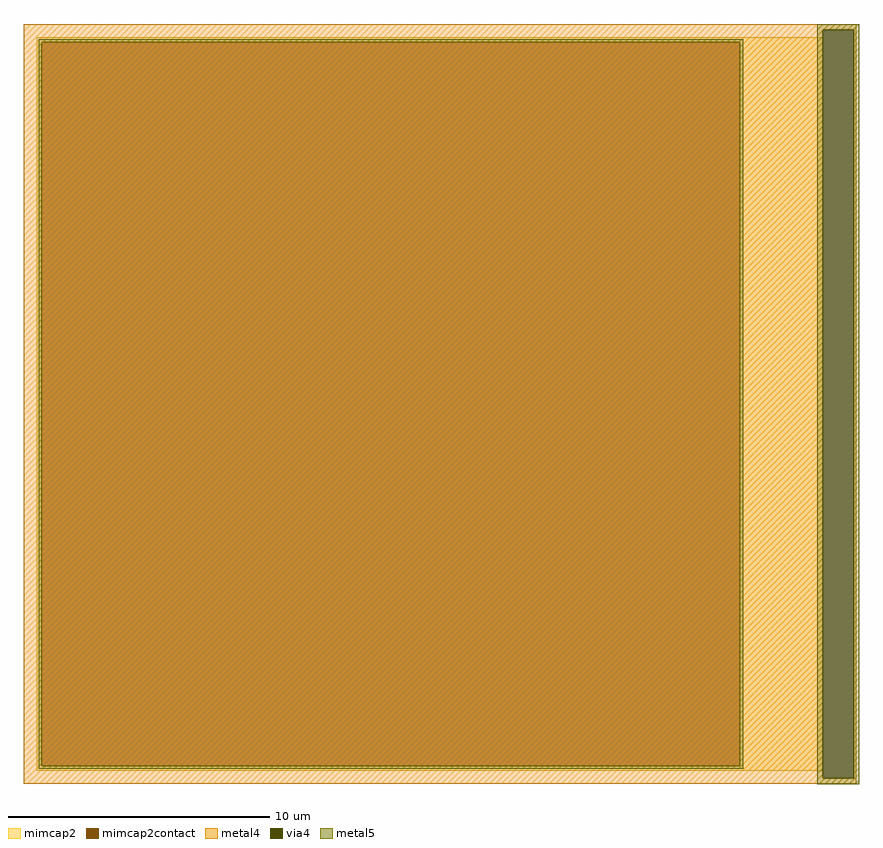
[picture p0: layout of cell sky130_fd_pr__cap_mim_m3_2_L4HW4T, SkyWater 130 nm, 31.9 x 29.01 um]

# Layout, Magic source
magic
tech sky130A
magscale 1 2
<< metal4 >>
rect -3179 2859 3179 2900
rect -3179 -2859 2923 2859
rect 3159 -2859 3179 2859
rect -3179 -2900 3179 -2859
<< via4 >>
rect 2923 -2859 3159 2859
<< mimcap2 >>
rect -3079 2760 2921 2800
rect -3079 -2760 -3039 2760
rect 2289 -2760 2921 2760
rect -3079 -2800 2921 -2760
<< mimcap2contact >>
rect -3039 -2760 2289 2760
<< metal5 >>
rect 2881 2859 3201 2901
rect -3063 2760 2313 2784
rect -3063 -2760 -3039 2760
rect 2289 -2760 2313 2760
rect -3063 -2784 2313 -2760
rect 2881 -2859 2923 2859
rect 3159 -2859 3201 2859
rect 2881 -2901 3201 -2859
<< properties >>
string gencell sky130_fd_pr__cap_mim_m3_2
string FIXED_BBOX -3179 -2900 3021 2900
string parameters w 30.00 l 28.00 val 1.702k carea 2.00 cperi 0.19 nx 1 ny 1 dummy 0 square 0 lmin 2.00 wmin 2.00 lmax 30.0 wmax 30.0 dc 0 bconnect 1 tconnect 1 ccov +90
string library sky130
<< end >>
